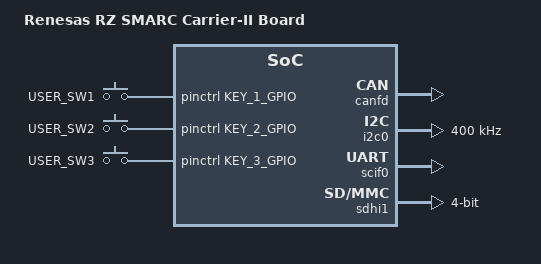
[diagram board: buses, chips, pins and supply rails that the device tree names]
// SPDX-License-Identifier: (GPL-2.0-only OR BSD-2-Clause)
/*
 * Device Tree Source for the RZ SMARC Carrier-II Board.
 *
 * Copyright (C) 2024 Renesas Electronics Corp.
 */

/*
 * Please set the switch position SW_OPT_MUX.1 on the carrier board and the
 * corresponding macro SW_SDIO_M2E on the board DTS:
 *
 * SW_SDIO_M2E:
 *     0 - SMARC SDIO signal is connected to uSD1
 *     1 - SMARC SDIO signal is connected to M.2 Key E connector
 *
 * Please set the switch position SW_GPIO_CAN_PMOD on the carrier board and the
 * corresponding macro SW_GPIO8_CAN0_STB/SW_GPIO8_CAN0_STB on the board DTS:
 *
 * SW_GPIO8_CAN0_STB:
 *	0 - Connect to GPIO8 PMOD (default)
 *	1 - Connect to CAN0 transceiver STB pin
 *
 * SW_GPIO9_CAN1_STB:
 *	0 - Connect to GPIO9 PMOD (default)
 *	1 - Connect to CAN1 transceiver STB pin
 *
 * GPIO keys are enabled by default. Use PMOD_GPIO macros to disable them
 * if needed.
 */

/ {
	model = "Renesas RZ SMARC Carrier-II Board";
	compatible = "renesas,smarc2-evk";

	chosen {
		bootargs = "ignore_loglevel";
		stdout-path = "serial3:115200n8";
	};

	aliases {
		i2c0 = &i2c0;
		serial3 = &scif0;
		mmc1 = &sdhi1;
	};

	can_transceiver0: can-phy0 {
		compatible = "ti,tcan1042";
		#phy-cells = <0>;
		max-bitrate = <8000000>;
		status = "disabled";
	};

	can_transceiver1: can-phy1 {
		compatible = "ti,tcan1042";
		#phy-cells = <0>;
		max-bitrate = <8000000>;
		status = "disabled";
	};

	keys: keys {
		compatible = "gpio-keys";

		key-1 {
			interrupts-extended = <&pinctrl KEY_1_GPIO IRQ_TYPE_EDGE_FALLING>;
			linux,code = <KEY_1>;
			label = "USER_SW1";
			wakeup-source;
			debounce-interval = <20>;
		};

		key-2 {
			interrupts-extended = <&pinctrl KEY_2_GPIO IRQ_TYPE_EDGE_FALLING>;
			linux,code = <KEY_2>;
			label = "USER_SW2";
			wakeup-source;
			debounce-interval = <20>;
		};

		key-3 {
			interrupts-extended = <&pinctrl KEY_3_GPIO IRQ_TYPE_EDGE_FALLING>;
			linux,code = <KEY_3>;
			label = "USER_SW3";
			wakeup-source;
			debounce-interval = <20>;
		};
	};
};

&canfd {
	status = "okay";
};

&i2c0 {
	status = "okay";
	clock-frequency = <400000>;
};

&scif0 {
	status = "okay";
};

&sdhi1 {
	bus-width = <4>;
	sd-uhs-sdr50;
	sd-uhs-sdr104;

	status = "okay";
};
